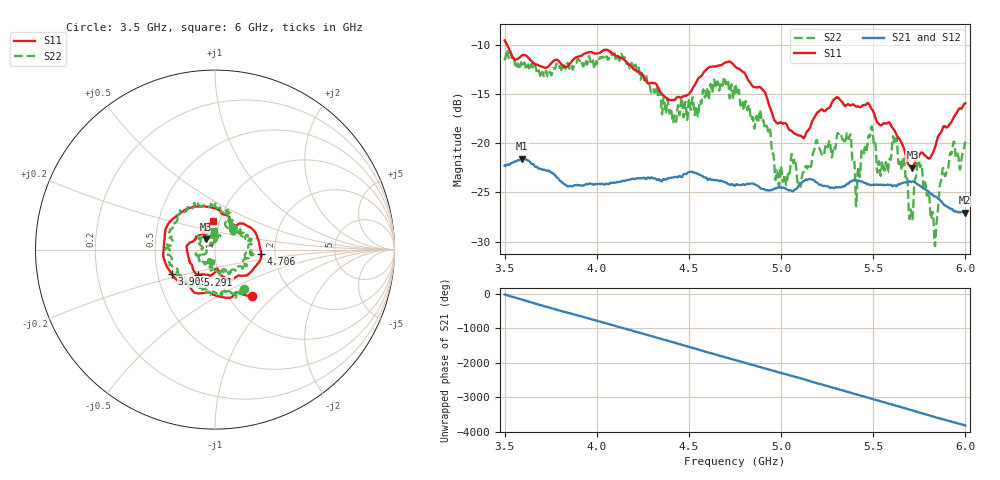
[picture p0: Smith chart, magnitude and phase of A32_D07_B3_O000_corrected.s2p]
! Created with skrf 1.9.0 (http://scikit-rf.org).
# Hz S RI R 50.0
!freq ReS11 ImS11 ReS21 ImS21 ReS12 ImS12 ReS22 ImS22
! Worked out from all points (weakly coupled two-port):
!   1601 points, 3.5 GHz to 6 GHz, reference 50 ohm
!   highest |S21| = -21.57 dB at 3.595 GHz (marker M1); lowest = -27.0 dB at 5.998 GHz (marker M2)
!   lowest |S11| = -22.5 dB at 5.713 GHz (marker M3), VSWR 1.16, Z = 45.1 + j5.2 ohm
!   |S11| at or under -10 dB: 3.513 GHz to end of sweep
!   |S22| runs from -30.5 to -10.5 dB; largest |S21 - S12| = 0.00097
!   S11 on the Smith chart (normalised r, x): 3.5 GHz: 1.28, -0.75; 3.909 GHz: 0.59, -0.17; 4.706 GHz: 1.69, -0.10; 5.291 GHz: 0.80, -0.23; 6 GHz: 0.93, +0.31
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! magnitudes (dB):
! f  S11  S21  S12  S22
! 3.5 GHz  -9.6  -22.3  -22.3  -11.3
! 3.595 GHz  -11.1  -21.6  -21.6  -12.1
! 3.909 GHz  -11.2  -24.3  -24.2  -11.6
! 3.917 GHz  -11.1  -24.3  -24.3  -11.6
! 4.334 GHz  -14.4  -23.7  -23.6  -15.4
! 4.422 GHz  -15.6  -23.4  -23.4  -17.2
! 4.706 GHz  -11.8  -24.1  -24.0  -13.7
! 4.75 GHz  -12.2  -24.3  -24.2  -14.1
! 4.931 GHz  -15.9  -24.8  -24.7  -18.8
! 4.98 GHz  -18.0  -24.5  -24.5  -22.9
! 5.167 GHz  -17.8  -23.7  -23.6  -21.8
! 5.291 GHz  -15.5  -24.5  -24.5  -20.5
! 5.414 GHz  -16.3  -23.8  -23.8  -23.5
! 5.484 GHz  -16.3  -24.2  -24.2  -19.0
! 5.584 GHz  -17.9  -24.2  -24.2  -22.1
! 5.617 GHz  -18.8  -24.3  -24.3  -20.1
! 5.713 GHz  -22.5  -23.9  -23.8  -27.8
! 5.752 GHz  -21.1  -24.3  -24.3  -22.3
! 5.838 GHz  -20.3  -25.4  -25.4  -29.7
! 5.873 GHz  -18.6  -26.0  -26.0  -23.0
! 5.998 GHz  -16.0  -27.0  -27.0  -19.9
! 6 GHz  -15.9  -27.0  -27.0  -19.8
